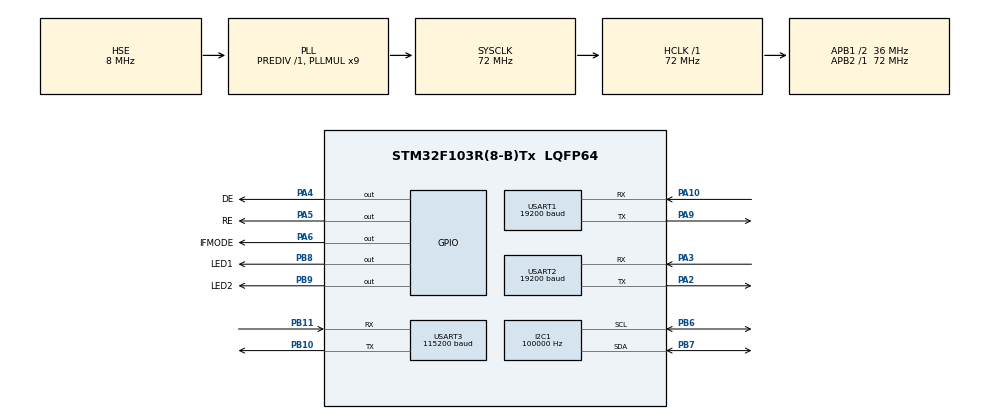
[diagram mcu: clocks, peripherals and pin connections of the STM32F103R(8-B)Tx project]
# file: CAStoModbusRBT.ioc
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Dma.Request0=USART1_RX
Dma.Request1=USART1_TX
Dma.Request2=USART2_RX
Dma.Request3=USART2_TX
Dma.Request4=USART3_RX
Dma.Request5=USART3_TX
Dma.USART1_RX.0.Direction=DMA_PERIPH_TO_MEMORY
Dma.USART1_RX.0.Instance=DMA1_Channel5
Dma.USART1_RX.0.MemDataAlignment=DMA_MDATAALIGN_BYTE
Dma.USART1_RX.0.MemInc=DMA_MINC_ENABLE
Dma.USART1_RX.0.Mode=DMA_NORMAL
Dma.USART1_RX.0.PeriphDataAlignment=DMA_PDATAALIGN_BYTE
Dma.USART1_RX.0.PeriphInc=DMA_PINC_DISABLE
Dma.USART1_RX.0.Priority=DMA_PRIORITY_LOW
Dma.USART1_TX.1.Direction=DMA_MEMORY_TO_PERIPH
Dma.USART1_TX.1.Instance=DMA1_Channel4
Dma.USART1_TX.1.MemDataAlignment=DMA_MDATAALIGN_BYTE
Dma.USART1_TX.1.MemInc=DMA_MINC_ENABLE
Dma.USART1_TX.1.Mode=DMA_NORMAL
Dma.USART1_TX.1.PeriphDataAlignment=DMA_PDATAALIGN_BYTE
Dma.USART1_TX.1.PeriphInc=DMA_PINC_DISABLE
Dma.USART1_TX.1.Priority=DMA_PRIORITY_LOW
Dma.USART2_RX.2.Direction=DMA_PERIPH_TO_MEMORY
Dma.USART2_RX.2.Instance=DMA1_Channel6
Dma.USART2_RX.2.MemDataAlignment=DMA_MDATAALIGN_BYTE
Dma.USART2_RX.2.MemInc=DMA_MINC_ENABLE
Dma.USART2_RX.2.Mode=DMA_NORMAL
Dma.USART2_RX.2.PeriphDataAlignment=DMA_PDATAALIGN_BYTE
Dma.USART2_RX.2.PeriphInc=DMA_PINC_DISABLE
Dma.USART2_RX.2.Priority=DMA_PRIORITY_LOW
Dma.USART2_TX.3.Direction=DMA_MEMORY_TO_PERIPH
Dma.USART2_TX.3.Instance=DMA1_Channel7
Dma.USART2_TX.3.MemDataAlignment=DMA_MDATAALIGN_BYTE
Dma.USART2_TX.3.MemInc=DMA_MINC_ENABLE
Dma.USART2_TX.3.Mode=DMA_NORMAL
Dma.USART2_TX.3.PeriphDataAlignment=DMA_PDATAALIGN_BYTE
Dma.USART2_TX.3.PeriphInc=DMA_PINC_DISABLE
Dma.USART2_TX.3.Priority=DMA_PRIORITY_LOW
Dma.USART3_RX.4.Direction=DMA_PERIPH_TO_MEMORY
Dma.USART3_RX.4.Instance=DMA1_Channel3
Dma.USART3_RX.4.MemDataAlignment=DMA_MDATAALIGN_BYTE
Dma.USART3_RX.4.MemInc=DMA_MINC_ENABLE
Dma.USART3_RX.4.Mode=DMA_NORMAL
Dma.USART3_RX.4.PeriphDataAlignment=DMA_PDATAALIGN_BYTE
Dma.USART3_RX.4.PeriphInc=DMA_PINC_DISABLE
Dma.USART3_RX.4.Priority=DMA_PRIORITY_LOW
Dma.USART3_TX.5.Direction=DMA_MEMORY_TO_PERIPH
Dma.USART3_TX.5.Instance=DMA1_Channel2
Dma.USART3_TX.5.MemDataAlignment=DMA_MDATAALIGN_BYTE
Dma.USART3_TX.5.MemInc=DMA_MINC_ENABLE
Dma.USART3_TX.5.Mode=DMA_NORMAL
Dma.USART3_TX.5.PeriphDataAlignment=DMA_PDATAALIGN_BYTE
Dma.USART3_TX.5.PeriphInc=DMA_PINC_DISABLE
Dma.USART3_TX.5.Priority=DMA_PRIORITY_LOW
FREERTOS.Queues01=casRx,4,casRxData_t,0,Static,casRxBuf,casRxControlBlock;modbusRx,4,modbusRxData_t,0,Static,modbusRxBuffer,modbusRxControlBlock
FREERTOS.Tasks01=defaultTask,24,128,StartDefaultTask,Default,NULL,Dynamic,NULL,NULL;cas,24,128,casTask,As external,&casData ,Static,casBuffer,casControlBlock;uartTx,27,128,uartTxTask,As external,NULL,Static,casTxBuffer,casTxControlBlock;modbus,24,128,modbusTask,As external,&modbusData,Static,modbusBuffer,modbusControlBlock
FREERTOS.configTOTAL_HEAP_SIZE=4096
FREERTOS.configUSE_NEWLIB_REENTRANT=1
I2C1.AddressingMode=I2C_ADDRESSINGMODE_7BIT
I2C1.ClockSpeed=100000
I2C1.DualAddressMode=I2C_DUALADDRESS_DISABLE
I2C1.GeneralCallMode=I2C_GENERALCALL_DISABLE
I2C1.I2C_Mode=I2C_Standard
I2C1.NoStretchMode=I2C_NOSTRETCH_DISABLE
I2C1.OwnAddress=0
Mcu.Family=STM32F1
Mcu.Name=STM32F103R(8-B)Tx
Mcu.Package=LQFP64
NVIC.DMA1_Channel2_IRQn=true\:5\:0\:false\:false\:true\:true\:false\:true\:true
NVIC.DMA1_Channel3_IRQn=true\:5\:0\:false\:false\:true\:true\:false\:true\:true
NVIC.DMA1_Channel4_IRQn=true\:5\:0\:false\:false\:true\:true\:false\:true\:true
NVIC.DMA1_Channel5_IRQn=true\:5\:0\:false\:false\:true\:true\:false\:true\:true
NVIC.DMA1_Channel6_IRQn=true\:5\:0\:false\:false\:true\:true\:false\:true\:true
NVIC.DMA1_Channel7_IRQn=true\:5\:0\:false\:false\:true\:true\:false\:true\:true
NVIC.PriorityGroup=NVIC_PRIORITYGROUP_4
NVIC.TIM2_IRQn=true\:5\:0\:false\:false\:true\:true\:true\:true\:true
NVIC.TIM4_IRQn=true\:15\:0\:false\:false\:true\:false\:false\:true\:true
NVIC.TimeBase=TIM4_IRQn
NVIC.TimeBaseIP=TIM4
NVIC.USART1_IRQn=true\:5\:0\:false\:false\:true\:true\:true\:true\:true
NVIC.USART2_IRQn=true\:5\:0\:false\:false\:true\:true\:true\:true\:true
PA10.Mode=Asynchronous
PA10.Signal=USART1_RX
PA13.Mode=Serial_Wire
PA13.Signal=SYS_JTMS-SWDIO
PA14.Mode=Serial_Wire
PA14.Signal=SYS_JTCK-SWCLK
PA2.Mode=Asynchronous
PA2.Signal=USART2_TX
PA3.Mode=Asynchronous
PA3.Signal=USART2_RX
PA4.GPIO_Label=DE
PA4.Signal=GPIO_Output
PA5.GPIO_Label=RE
PA5.Signal=GPIO_Output
PA6.GPIO_Label=IFMODE
PA6.PinState=GPIO_PIN_SET
PA6.Signal=GPIO_Output
PA9.Mode=Asynchronous
PA9.Signal=USART1_TX
PB10.Mode=Asynchronous
PB10.Signal=USART3_TX
PB11.GPIO_PuPd=GPIO_PULLUP
PB11.Mode=Asynchronous
PB11.Signal=USART3_RX
PB6.GPIO_Pu=GPIO_PULLUP
PB6.Mode=I2C
PB6.Signal=I2C1_SCL
PB7.GPIO_Pu=GPIO_PULLUP
PB7.Mode=I2C
PB7.Signal=I2C1_SDA
PB8.GPIO_Label=LED1
PB8.PinState=GPIO_PIN_SET
PB8.Signal=GPIO_Output
PB9.GPIO_Label=LED2
PB9.Signal=GPIO_Output
PD0-OSC_IN.Mode=HSE-External-Oscillator
PD0-OSC_IN.Signal=RCC_OSC_IN
PD1-OSC_OUT.Mode=HSE-External-Oscillator
PD1-OSC_OUT.Signal=RCC_OSC_OUT
ProjectManager.HeapSize=0x200
ProjectManager.StackSize=0x400
ProjectManager.TargetToolchain=STM32CubeIDE
RCC.AHBFreq_Value=72000000
RCC.APB1CLKDivider=RCC_HCLK_DIV2
RCC.APB1Freq_Value=36000000
RCC.APB1TimFreq_Value=72000000
RCC.APB2Freq_Value=72000000
RCC.APB2TimFreq_Value=72000000
RCC.HCLKFreq_Value=72000000
RCC.PLLMUL=RCC_PLL_MUL9
RCC.PLLSourceVirtual=RCC_PLLSOURCE_HSE
RCC.SYSCLKFreq_VALUE=72000000
RCC.SYSCLKSource=RCC_SYSCLKSOURCE_PLLCLK
RCC.USBFreq_Value=72000000
TIM2.Period=999
TIM2.Prescaler=71
USART1.BaudRate=19200
USART1.Mode=MODE_TX_RX
USART1.Parity=PARITY_NONE
USART1.StopBits=STOPBITS_1
USART1.VirtualMode=VM_ASYNC
USART1.WordLength=WORDLENGTH_8B
USART2.BaudRate=19200
USART2.Mode=MODE_TX_RX
USART2.Parity=PARITY_NONE
USART2.StopBits=STOPBITS_1
USART2.VirtualMode=VM_ASYNC
USART2.WordLength=WORDLENGTH_8B
USART3.BaudRate=115200
USART3.Mode=MODE_TX_RX
USART3.Parity=PARITY_NONE
USART3.StopBits=STOPBITS_1
USART3.VirtualMode=VM_ASYNC
USART3.WordLength=WORDLENGTH_8B
VP_FREERTOS_VS_CMSIS_V2.Mode=CMSIS_V2
VP_SYS_VS_tim4.Mode=TIM4
VP_TIM2_VS_ClockSourceINT.Mode=Internal
board=custom

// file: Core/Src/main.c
/* USER CODE BEGIN Header */
/**
  ******************************************************************************
  * @file           : main.c
  * @brief          : Main program body
  ******************************************************************************
  * @attention
  *
  * <h2><center>&copy; Copyright (c) 2022 STMicroelectronics.
  * All rights reserved.</center></h2>
  *
  * This software component is licensed by ST under BSD 3-Clause license,
  * the "License"; You may not use this file except in compliance with the
  * License. You may obtain a copy of the License at:
  *                        opensource.org/licenses/BSD-3-Clause
  *
  ******************************************************************************
  */
/* USER CODE END Header */
#include "main.h"
#include "cmsis_os.h"

/* USER CODE BEGIN Includes */
#include "CAS.h"
#include "Modbus.h"
#include "eeprom.h"
/* USER CODE END Includes */

typedef StaticTask_t osStaticThreadDef_t;
typedef StaticQueue_t osStaticMessageQDef_t;

I2C_HandleTypeDef hi2c1;

TIM_HandleTypeDef htim2;

UART_HandleTypeDef huart1;
UART_HandleTypeDef huart2;
UART_HandleTypeDef huart3;
DMA_HandleTypeDef hdma_usart1_rx;
DMA_HandleTypeDef hdma_usart1_tx;
DMA_HandleTypeDef hdma_usart2_rx;
DMA_HandleTypeDef hdma_usart2_tx;
DMA_HandleTypeDef hdma_usart3_rx;
DMA_HandleTypeDef hdma_usart3_tx;

/* Definitions for defaultTask */
osThreadId_t defaultTaskHandle;
const osThreadAttr_t defaultTask_attributes = {
  .name = "defaultTask",
  .stack_size = 128 * 4,
  .priority = (osPriority_t) osPriorityNormal,
};
/* Definitions for cas */
osThreadId_t casHandle;
uint32_t casBuffer[ 128 ];
osStaticThreadDef_t casControlBlock;
const osThreadAttr_t cas_attributes = {
  .name = "cas",
  .cb_mem = &casControlBlock,
  .cb_size = sizeof(casControlBlock),
  .stack_mem = &casBuffer[0],
  .stack_size = sizeof(casBuffer),
  .priority = (osPriority_t) osPriorityNormal,
};
/* Definitions for uartTx */
osThreadId_t uartTxHandle;
uint32_t casTxBuffer[ 128 ];
osStaticThreadDef_t casTxControlBlock;
const osThreadAttr_t uartTx_attributes = {
  .name = "uartTx",
  .cb_mem = &casTxControlBlock,
  .cb_size = sizeof(casTxControlBlock),
  .stack_mem = &casTxBuffer[0],
  .stack_size = sizeof(casTxBuffer),
  .priority = (osPriority_t) osPriorityNormal3,
};
/* Definitions for modbus */
osThreadId_t modbusHandle;
uint32_t modbusBuffer[ 128 ];
osStaticThreadDef_t modbusControlBlock;
const osThreadAttr_t modbus_attributes = {
  .name = "modbus",
  .cb_mem = &modbusControlBlock,
  .cb_size = sizeof(modbusControlBlock),
  .stack_mem = &modbusBuffer[0],
  .stack_size = sizeof(modbusBuffer),
  .priority = (osPriority_t) osPriorityNormal,
};
/* Definitions for casRx */
osMessageQueueId_t casRxHandle;
uint8_t casRxBuf[ 4 * sizeof( casRxData_t ) ];
osStaticMessageQDef_t casRxControlBlock;
const osMessageQueueAttr_t casRx_attributes = {
  .name = "casRx",
  .cb_mem = &casRxControlBlock,
  .cb_size = sizeof(casRxControlBlock),
  .mq_mem = &casRxBuf,
  .mq_size = sizeof(casRxBuf)
};
/* Definitions for modbusRx */
osMessageQueueId_t modbusRxHandle;
uint8_t modbusRxBuffer[ 4 * sizeof( modbusRxData_t ) ];
osStaticMessageQDef_t modbusRxControlBlock;
const osMessageQueueAttr_t modbusRx_attributes = {
  .name = "modbusRx",
  .cb_mem = &modbusRxControlBlock,
  .cb_size = sizeof(modbusRxControlBlock),
  .mq_mem = &modbusRxBuffer,
  .mq_size = sizeof(modbusRxBuffer)
};
/* USER CODE BEGIN PV */
uint8_t zeroFlag = 0;
uint16_t ledStatusCounter = 999;
/* USER CODE END PV */

void SystemClock_Config(void);
static void MX_GPIO_Init(void);
static void MX_DMA_Init(void);
static void MX_USART2_UART_Init(void);
static void MX_USART1_UART_Init(void);
static void MX_USART3_UART_Init(void);
static void MX_I2C1_Init(void);
static void MX_TIM2_Init(void);
void StartDefaultTask(void *argument);
extern void casTask(void *argument);
extern void uartTxTask(void *argument);
extern void modbusTask(void *argument);

int main(void)
{

  /* MCU Configuration--------------------------------------------------------*/

  /* Reset of all peripherals, Initializes the Flash interface and the Systick. */
  HAL_Init();

  /* Configure the system clock */
  SystemClock_Config();

  /* Initialize all configured peripherals */
  MX_GPIO_Init();
  MX_DMA_Init();
  MX_USART2_UART_Init();
  MX_USART1_UART_Init();
  MX_USART3_UART_Init();
  MX_I2C1_Init();
  MX_TIM2_Init();
  /* USER CODE BEGIN 2 */
  HAL_UARTEx_ReceiveToIdle_DMA(&huart1, (uint8_t *)casData.casRxData.casRxBuffer, 64);
  HAL_UARTEx_ReceiveToIdle_DMA(&huart2, (uint8_t *)modbusData.rxData.modbusRxBuffer, 64);
  HAL_UARTEx_ReceiveToIdle_DMA(&huart3, (uint8_t *)casData.casRxData.casRxBuffer, 64);
  HAL_TIM_Base_Start_IT(&htim2);
  setRxMode();
  modbusData.settings.deviceId = 0x01;
  HAL_Delay(10);
  eepromRead((uint8_t*)&modbusData.settings, sizeof(modbusSettings_t));
  huart2.Init.BaudRate = modbusData.settings.baudRate;
  HAL_UART_Init(&huart2);
  HAL_Delay(10);
  /* USER CODE END 2 */

  /* Init scheduler */
  osKernelInitialize();

  /* Create the queue(s) */
  /* creation of casRx */
  casRxHandle = osMessageQueueNew (4, sizeof(casRxData_t), &casRx_attributes);

  /* creation of modbusRx */
  modbusRxHandle = osMessageQueueNew (4, sizeof(modbusRxData_t), &modbusRx_attributes);

  /* Create the thread(s) */
  /* creation of defaultTask */
  defaultTaskHandle = osThreadNew(StartDefaultTask, NULL, &defaultTask_attributes);

  /* creation of cas */
  casHandle = osThreadNew(casTask, (void*) &casData, &cas_attributes);

  /* creation of uartTx */
  uartTxHandle = osThreadNew(uartTxTask, NULL, &uartTx_attributes);

  /* creation of modbus */
  modbusHandle = osThreadNew(modbusTask, (void*) &modbusData, &modbus_attributes);

  /* Start scheduler */
  osKernelStart();
  /* We should never get here as control is now taken by the scheduler */
  /* Infinite loop */
  while (1)
  {

  }
}

void SystemClock_Config(void)
{
  RCC_OscInitTypeDef RCC_OscInitStruct = {0};
  RCC_ClkInitTypeDef RCC_ClkInitStruct = {0};

  /** Initializes the RCC Oscillators according to the specified parameters
  * in the RCC_OscInitTypeDef structure.
  */
  RCC_OscInitStruct.OscillatorType = RCC_OSCILLATORTYPE_HSE;
  RCC_OscInitStruct.HSEState = RCC_HSE_ON;
  RCC_OscInitStruct.HSEPredivValue = RCC_HSE_PREDIV_DIV1;
  RCC_OscInitStruct.HSIState = RCC_HSI_ON;
  RCC_OscInitStruct.PLL.PLLState = RCC_PLL_ON;
  RCC_OscInitStruct.PLL.PLLSource = RCC_PLLSOURCE_HSE;
  RCC_OscInitStruct.PLL.PLLMUL = RCC_PLL_MUL9;
  if (HAL_RCC_OscConfig(&RCC_OscInitStruct) != HAL_OK)
  {
    Error_Handler();
  }

  /** Initializes the CPU, AHB and APB buses clocks
  */
  RCC_ClkInitStruct.ClockType = RCC_CLOCKTYPE_HCLK|RCC_CLOCKTYPE_SYSCLK
                              |RCC_CLOCKTYPE_PCLK1|RCC_CLOCKTYPE_PCLK2;
  RCC_ClkInitStruct.SYSCLKSource = RCC_SYSCLKSOURCE_PLLCLK;
  RCC_ClkInitStruct.AHBCLKDivider = RCC_SYSCLK_DIV1;
  RCC_ClkInitStruct.APB1CLKDivider = RCC_HCLK_DIV2;
  RCC_ClkInitStruct.APB2CLKDivider = RCC_HCLK_DIV1;

  if (HAL_RCC_ClockConfig(&RCC_ClkInitStruct, FLASH_LATENCY_2) != HAL_OK)
  {
    Error_Handler();
  }
}

static void MX_I2C1_Init(void)
{

  hi2c1.Instance = I2C1;
  hi2c1.Init.ClockSpeed = 100000;
  hi2c1.Init.DutyCycle = I2C_DUTYCYCLE_2;
  hi2c1.Init.OwnAddress1 = 0;
  hi2c1.Init.AddressingMode = I2C_ADDRESSINGMODE_7BIT;
  hi2c1.Init.DualAddressMode = I2C_DUALADDRESS_DISABLE;
  hi2c1.Init.OwnAddress2 = 0;
  hi2c1.Init.GeneralCallMode = I2C_GENERALCALL_DISABLE;
  hi2c1.Init.NoStretchMode = I2C_NOSTRETCH_DISABLE;
  if (HAL_I2C_Init(&hi2c1) != HAL_OK)
  {
    Error_Handler();
  }

}

static void MX_TIM2_Init(void)
{

  TIM_ClockConfigTypeDef sClockSourceConfig = {0};
  TIM_MasterConfigTypeDef sMasterConfig = {0};

  htim2.Instance = TIM2;
  htim2.Init.Prescaler = 71;
  htim2.Init.CounterMode = TIM_COUNTERMODE_UP;
  htim2.Init.Period = 999;
  htim2.Init.ClockDivision = TIM_CLOCKDIVISION_DIV1;
  htim2.Init.AutoReloadPreload = TIM_AUTORELOAD_PRELOAD_DISABLE;
  if (HAL_TIM_Base_Init(&htim2) != HAL_OK)
  {
    Error_Handler();
  }
  sClockSourceConfig.ClockSource = TIM_CLOCKSOURCE_INTERNAL;
  if (HAL_TIM_ConfigClockSource(&htim2, &sClockSourceConfig) != HAL_OK)
  {
    Error_Handler();
  }
  sMasterConfig.MasterOutputTrigger = TIM_TRGO_RESET;
  sMasterConfig.MasterSlaveMode = TIM_MASTERSLAVEMODE_DISABLE;
  if (HAL_TIMEx_MasterConfigSynchronization(&htim2, &sMasterConfig) != HAL_OK)
  {
    Error_Handler();
  }

}

static void MX_USART1_UART_Init(void)
{

  huart1.Instance = USART1;
  huart1.Init.BaudRate = 19200;
  huart1.Init.WordLength = UART_WORDLENGTH_8B;
  huart1.Init.StopBits = UART_STOPBITS_1;
  huart1.Init.Parity = UART_PARITY_NONE;
  huart1.Init.Mode = UART_MODE_TX_RX;
  huart1.Init.HwFlowCtl = UART_HWCONTROL_NONE;
  huart1.Init.OverSampling = UART_OVERSAMPLING_16;
  if (HAL_UART_Init(&huart1) != HAL_OK)
  {
    Error_Handler();
  }

}

static void MX_USART2_UART_Init(void)
{

  huart2.Instance = USART2;
  huart2.Init.BaudRate = 19200;
  huart2.Init.WordLength = UART_WORDLENGTH_8B;
  huart2.Init.StopBits = UART_STOPBITS_1;
  huart2.Init.Parity = UART_PARITY_NONE;
  huart2.Init.Mode = UART_MODE_TX_RX;
  huart2.Init.HwFlowCtl = UART_HWCONTROL_NONE;
  huart2.Init.OverSampling = UART_OVERSAMPLING_16;
  if (HAL_UART_Init(&huart2) != HAL_OK)
  {
    Error_Handler();
  }

}

static void MX_USART3_UART_Init(void)
{

  huart3.Instance = USART3;
  huart3.Init.BaudRate = 115200;
  huart3.Init.WordLength = UART_WORDLENGTH_8B;
  huart3.Init.StopBits = UART_STOPBITS_1;
  huart3.Init.Parity = UART_PARITY_NONE;
  huart3.Init.Mode = UART_MODE_TX_RX;
  huart3.Init.HwFlowCtl = UART_HWCONTROL_NONE;
  huart3.Init.OverSampling = UART_OVERSAMPLING_16;
  if (HAL_UART_Init(&huart3) != HAL_OK)
  {
    Error_Handler();
  }

}

static void MX_DMA_Init(void)
{

  /* DMA controller clock enable */
  __HAL_RCC_DMA1_CLK_ENABLE();

  /* DMA interrupt init */
  /* DMA1_Channel2_IRQn interrupt configuration */
  HAL_NVIC_SetPriority(DMA1_Channel2_IRQn, 5, 0);
  HAL_NVIC_EnableIRQ(DMA1_Channel2_IRQn);
  /* DMA1_Channel3_IRQn interrupt configuration */
  HAL_NVIC_SetPriority(DMA1_Channel3_IRQn, 5, 0);
  HAL_NVIC_EnableIRQ(DMA1_Channel3_IRQn);
  /* DMA1_Channel4_IRQn interrupt configuration */
  HAL_NVIC_SetPriority(DMA1_Channel4_IRQn, 5, 0);
  HAL_NVIC_EnableIRQ(DMA1_Channel4_IRQn);
  /* DMA1_Channel5_IRQn interrupt configuration */
  HAL_NVIC_SetPriority(DMA1_Channel5_IRQn, 5, 0);
  HAL_NVIC_EnableIRQ(DMA1_Channel5_IRQn);
  /* DMA1_Channel6_IRQn interrupt configuration */
  HAL_NVIC_SetPriority(DMA1_Channel6_IRQn, 5, 0);
  HAL_NVIC_EnableIRQ(DMA1_Channel6_IRQn);
  /* DMA1_Channel7_IRQn interrupt configuration */
  HAL_NVIC_SetPriority(DMA1_Channel7_IRQn, 5, 0);
  HAL_NVIC_EnableIRQ(DMA1_Channel7_IRQn);

}

static void MX_GPIO_Init(void)
{
  GPIO_InitTypeDef GPIO_InitStruct = {0};

  /* GPIO Ports Clock Enable */
  __HAL_RCC_GPIOD_CLK_ENABLE();
  __HAL_RCC_GPIOA_CLK_ENABLE();
  __HAL_RCC_GPIOB_CLK_ENABLE();

  /*Configure GPIO pin Output Level */
  HAL_GPIO_WritePin(GPIOA, DE_Pin|RE_Pin, GPIO_PIN_RESET);

  /*Configure GPIO pin Output Level */
  HAL_GPIO_WritePin(IFMODE_GPIO_Port, IFMODE_Pin, GPIO_PIN_SET);

  /*Configure GPIO pin Output Level */
  HAL_GPIO_WritePin(LED1_GPIO_Port, LED1_Pin, GPIO_PIN_SET);

  /*Configure GPIO pin Output Level */
  HAL_GPIO_WritePin(LED2_GPIO_Port, LED2_Pin, GPIO_PIN_RESET);

  /*Configure GPIO pins : DE_Pin RE_Pin IFMODE_Pin */
  GPIO_InitStruct.Pin = DE_Pin|RE_Pin|IFMODE_Pin;
  GPIO_InitStruct.Mode = GPIO_MODE_OUTPUT_PP;
  GPIO_InitStruct.Pull = GPIO_NOPULL;
  GPIO_InitStruct.Speed = GPIO_SPEED_FREQ_LOW;
  HAL_GPIO_Init(GPIOA, &GPIO_InitStruct);

  /*Configure GPIO pins : LED1_Pin LED2_Pin */
  GPIO_InitStruct.Pin = LED1_Pin|LED2_Pin;
  GPIO_InitStruct.Mode = GPIO_MODE_OUTPUT_PP;
  GPIO_InitStruct.Pull = GPIO_NOPULL;
  GPIO_InitStruct.Speed = GPIO_SPEED_FREQ_LOW;
  HAL_GPIO_Init(GPIOB, &GPIO_InitStruct);

}

/* USER CODE BEGIN 4 */
void HAL_UART_TxCpltCallback(UART_HandleTypeDef *huart)
{
	if (huart->Instance == USART1) {
		uart1status =  READY;
	}
	if (huart->Instance == USART2) {
		setRxMode();
	}
}
/* USER CODE END 4 */

void StartDefaultTask(void *argument)
{
  /* USER CODE BEGIN 5 */
  /* Infinite loop */
  for(;;)
  {
	  if(zeroFlag) {
		  zeroFlag = 0;
		  eepromWrite((uint8_t*)&modbusData.settings, sizeof (modbusSettings_t));
	  }
    osDelay(1);
  }
  /* USER CODE END 5 */
}

void HAL_TIM_PeriodElapsedCallback(TIM_HandleTypeDef *htim)
{
  /* USER CODE BEGIN Callback 0 */
	static uint16_t tickCounter = 0;
	static uint16_t ledCounter = 0;
  /* USER CODE END Callback 0 */
  if (htim->Instance == TIM4) {
    HAL_IncTick();
  }
  /* USER CODE BEGIN Callback 1 */
  if (htim->Instance == TIM4) {
	  if (ledCounter++ > ledStatusCounter) {
		  ledCounter = 0;
		  HAL_GPIO_TogglePin(LED1_GPIO_Port, LED1_Pin);
		  HAL_GPIO_TogglePin(LED2_GPIO_Port, LED2_Pin);
	  }
  }
  if (htim->Instance == TIM2) {
	  if (tickCounter++ > 99) {
		  tickCounter = 0;
		  osThreadFlagsSet(uartTxHandle, 0x01);
	  }
  }
  /* USER CODE END Callback 1 */
}

void Error_Handler(void)
{
  __disable_irq();
  while (1)
  {
  }
}
